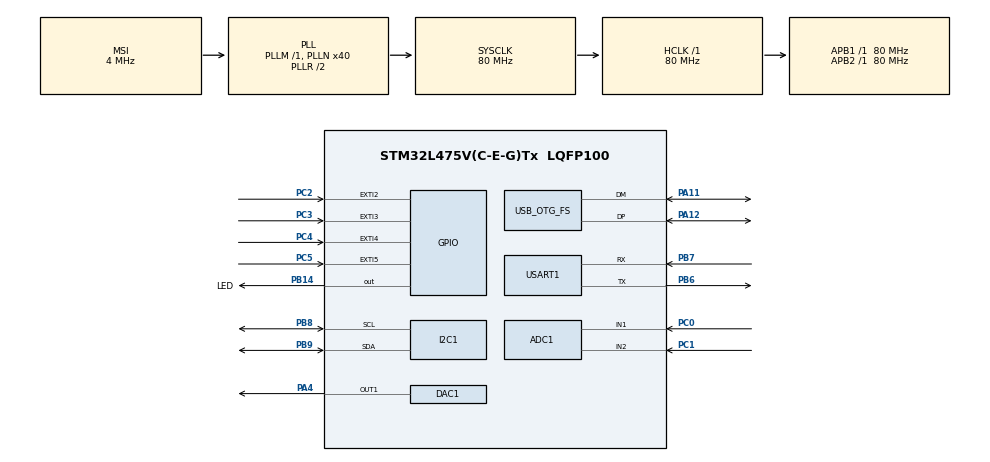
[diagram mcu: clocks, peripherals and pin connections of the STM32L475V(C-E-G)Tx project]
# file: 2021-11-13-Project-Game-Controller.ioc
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ADC1.Channel-0\#ChannelRegularConversion=ADC_CHANNEL_1
ADC1.Channel-1\#ChannelRegularConversion=ADC_CHANNEL_2
ADC1.ContinuousConvMode=ENABLE
ADC1.NbrOfConversion=2
ADC1.NbrOfConversionFlag=1
ADC1.OffsetNumber-0\#ChannelRegularConversion=ADC_OFFSET_NONE
ADC1.OffsetNumber-1\#ChannelRegularConversion=ADC_OFFSET_NONE
ADC1.Rank-0\#ChannelRegularConversion=1
ADC1.Rank-1\#ChannelRegularConversion=2
ADC1.SamplingTime-0\#ChannelRegularConversion=ADC_SAMPLETIME_247CYCLES_5
ADC1.SamplingTime-1\#ChannelRegularConversion=ADC_SAMPLETIME_247CYCLES_5
ADC1.master=1
DAC1.DAC_Trigger-DAC_OUT1=DAC_TRIGGER_T4_TRGO
Dma.ADC1.0.Direction=DMA_PERIPH_TO_MEMORY
Dma.ADC1.0.Instance=DMA1_Channel1
Dma.ADC1.0.MemDataAlignment=DMA_MDATAALIGN_WORD
Dma.ADC1.0.MemInc=DMA_MINC_ENABLE
Dma.ADC1.0.Mode=DMA_CIRCULAR
Dma.ADC1.0.PeriphDataAlignment=DMA_PDATAALIGN_WORD
Dma.ADC1.0.PeriphInc=DMA_PINC_DISABLE
Dma.ADC1.0.Priority=DMA_PRIORITY_LOW
Dma.DAC_CH1.1.Direction=DMA_MEMORY_TO_PERIPH
Dma.DAC_CH1.1.Instance=DMA1_Channel3
Dma.DAC_CH1.1.MemDataAlignment=DMA_MDATAALIGN_BYTE
Dma.DAC_CH1.1.MemInc=DMA_MINC_ENABLE
Dma.DAC_CH1.1.Mode=DMA_NORMAL
Dma.DAC_CH1.1.PeriphDataAlignment=DMA_PDATAALIGN_BYTE
Dma.DAC_CH1.1.PeriphInc=DMA_PINC_DISABLE
Dma.DAC_CH1.1.Priority=DMA_PRIORITY_VERY_HIGH
Dma.Request0=ADC1
Dma.Request1=DAC_CH1
I2C1.Timing=0x10909CEC
Mcu.Family=STM32L4
Mcu.Name=STM32L475V(C-E-G)Tx
Mcu.Package=LQFP100
NVIC.DMA1_Channel1_IRQn=true\:0\:0\:false\:false\:true\:false\:true
NVIC.DMA1_Channel3_IRQn=true\:0\:0\:false\:false\:true\:false\:true
NVIC.EXTI2_IRQn=true\:0\:0\:false\:false\:true\:true\:true
NVIC.EXTI3_IRQn=true\:0\:0\:false\:false\:true\:true\:true
NVIC.EXTI4_IRQn=true\:0\:0\:false\:false\:true\:true\:true
NVIC.EXTI9_5_IRQn=true\:0\:0\:false\:false\:true\:true\:true
NVIC.OTG_FS_IRQn=true\:0\:0\:false\:false\:true\:false\:true
NVIC.PriorityGroup=NVIC_PRIORITYGROUP_4
NVIC.TIM2_IRQn=true\:0\:0\:false\:false\:true\:true\:true
PA11.Mode=Device_Only
PA11.Signal=USB_OTG_FS_DM
PA12.Mode=Device_Only
PA12.Signal=USB_OTG_FS_DP
PA4.Signal=COMP_DAC11_group
PB14.GPIO_Label=LED
PB14.Signal=GPIO_Output
PB6.Mode=Asynchronous
PB6.Signal=USART1_TX
PB7.Mode=Asynchronous
PB7.Signal=USART1_RX
PB8.Mode=I2C
PB8.Signal=I2C1_SCL
PB9.Mode=I2C
PB9.Signal=I2C1_SDA
PC0.Signal=ADCx_IN1
PC1.Signal=ADCx_IN2
PC2.GPIO_ModeDefaultEXTI=GPIO_MODE_IT_RISING_FALLING
PC2.GPIO_PuPd=GPIO_PULLDOWN
PC2.Signal=GPXTI2
PC3.GPIO_ModeDefaultEXTI=GPIO_MODE_IT_RISING_FALLING
PC3.GPIO_PuPd=GPIO_PULLDOWN
PC3.Signal=GPXTI3
PC4.GPIO_ModeDefaultEXTI=GPIO_MODE_IT_RISING_FALLING
PC4.GPIO_PuPd=GPIO_PULLDOWN
PC4.Signal=GPXTI4
PC5.GPIO_ModeDefaultEXTI=GPIO_MODE_IT_RISING
PC5.GPIO_PuPd=GPIO_PULLDOWN
PC5.Signal=GPXTI5
PH0-OSC_IN\ (PH0).Mode=HSE-External-Oscillator
PH0-OSC_IN\ (PH0).Signal=RCC_OSC_IN
PH1-OSC_OUT\ (PH1).Mode=HSE-External-Oscillator
PH1-OSC_OUT\ (PH1).Signal=RCC_OSC_OUT
ProjectManager.HeapSize=0x200
ProjectManager.StackSize=0x400
ProjectManager.TargetToolchain=STM32CubeIDE
RCC.ADCFreq_Value=48000000
RCC.AHBFreq_Value=80000000
RCC.APB1Freq_Value=80000000
RCC.APB1TimFreq_Value=80000000
RCC.APB2Freq_Value=80000000
RCC.APB2TimFreq_Value=80000000
RCC.CortexFreq_Value=80000000
RCC.HCLKFreq_Value=80000000
RCC.HSE_VALUE=8000000
RCC.HSI_VALUE=16000000
RCC.LSE_VALUE=32768
RCC.MSI_VALUE=4000000
RCC.PLLN=40
RCC.PLLSAI1N=24
RCC.SYSCLKFreq_VALUE=80000000
RCC.SYSCLKSource=RCC_SYSCLKSOURCE_PLLCLK
RCC.USBFreq_Value=48000000
RCC.VCOOutputFreq_Value=160000000
SH.ADCx_IN1.0=ADC1_IN1,IN1-Single-Ended
SH.ADCx_IN2.0=ADC1_IN2,IN2-Single-Ended
SH.COMP_DAC11_group.0=DAC1_OUT1,DAC_OUT1
TIM2.Period=8000000
TIM4.Period=1814
TIM4.TIM_MasterOutputTrigger=TIM_TRGO_UPDATE
USART1.VirtualMode-Asynchronous=VM_ASYNC
USB_DEVICE.CLASS_NAME_FS=HID
USB_DEVICE.PRODUCT_STRING_HID_FS=STM32 Game Controller
USB_DEVICE.VirtualMode=Hid
USB_DEVICE.VirtualModeFS=Hid_FS
USB_OTG_FS.VirtualMode=Device_Only
VP_TIM2_VS_ClockSourceINT.Mode=Internal
VP_TIM4_VS_ClockSourceINT.Mode=Internal
VP_USB_DEVICE_VS_USB_DEVICE_HID_FS.Mode=HID_FS
board=B-L475E-IOT01A1

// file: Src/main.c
/* USER CODE BEGIN Header */
/**
  ******************************************************************************
  * @file           : main.c
  * @brief          : Main program body
  ******************************************************************************
  * @attention
  *
  * <h2><center>&copy; Copyright (c) 2021 STMicroelectronics.
  * All rights reserved.</center></h2>
  *
  * This software component is licensed by ST under BSD 3-Clause license,
  * the "License"; You may not use this file except in compliance with the
  * License. You may obtain a copy of the License at:
  *                        opensource.org/licenses/BSD-3-Clause
  *
  ******************************************************************************
  */
/* USER CODE END Header */
#include "main.h"
#include "usb_device.h"

/* USER CODE BEGIN Includes */
#include "stm32l475e_iot01_accelero.h"
#include "usbd_hid.h"
#include "arm_math.h"
#include "math.h"
/* USER CODE END Includes */

/* USER CODE BEGIN PTD */
/* Struct for mouse ----------------------------------------------------------*/
typedef struct {
	uint8_t id;
	uint8_t button;
	int8_t mouse_x;
	int8_t mouse_y;
	int8_t wheel;
} mouseHID_t;

/* Struct for keyboard -------------------------------------------------------*/
typedef struct {
	uint8_t id;
	uint8_t modifiers;
	uint8_t reserved;
	uint8_t keycodes[6];
} keyboardHID_t;
/* USER CODE END PTD */

/* USER CODE BEGIN PD */
/* size of DAC array ---------------------------------------------------------*/
#define size 1500
/* USER CODE END PD */

ADC_HandleTypeDef hadc1;
DMA_HandleTypeDef hdma_adc1;

DAC_HandleTypeDef hdac1;
DMA_HandleTypeDef hdma_dac_ch1;

I2C_HandleTypeDef hi2c1;

TIM_HandleTypeDef htim2;
TIM_HandleTypeDef htim4;

UART_HandleTypeDef huart1;

/* USER CODE BEGIN PV */
extern USBD_HandleTypeDef hUsbDeviceFS;
int16_t acceleroResults[3];	// temporary array to hold accelerometer readings
int16_t x,y;				// accelerometer readings
uint32_t VR[2];				// joystick readings
int sleepTimer = 0;			// timer for entering sleep mode
uint8_t button_flag = 0;	// button pressed indicator
keyboardHID_t keyboardHID;	// id code for keyboard
mouseHID_t mouseHID;		// id code for mouse
/* USER CODE END PV */

void SystemClock_Config(void);
void PeriphCommonClock_Config(void);
static void MX_GPIO_Init(void);
static void MX_DMA_Init(void);
static void MX_ADC1_Init(void);
static void MX_USART1_UART_Init(void);
static void MX_I2C1_Init(void);
static void MX_TIM2_Init(void);
static void MX_DAC1_Init(void);
static void MX_TIM4_Init(void);

/* USER CODE BEGIN 0 */
uint8_t sineValue[size];
/* USER CODE END 0 */

int main(void)
{
  /* USER CODE BEGIN 1 */

  // initialize the DAC sound output array
  for(int i = 0; i < size; i++){
	  sineValue[i] = 85 * arm_sin_f32(2*M_PI/20 * i) + 128;
  }
  // declare the id for keyboard and mouse
  keyboardHID.id = 1;
  mouseHID.id = 2;
  /* USER CODE END 1 */

  /* MCU Configuration--------------------------------------------------------*/

  /* Reset of all peripherals, Initializes the Flash interface and the Systick. */
  HAL_Init();

  /* Configure the system clock */
  SystemClock_Config();

/* Configure the peripherals common clocks */
  PeriphCommonClock_Config();

  /* Initialize all configured peripherals */
  MX_GPIO_Init();
  MX_USB_DEVICE_Init();
  MX_DMA_Init();
  MX_ADC1_Init();
  MX_USART1_UART_Init();
  MX_I2C1_Init();
  MX_TIM2_Init();
  MX_DAC1_Init();
  MX_TIM4_Init();
  /* USER CODE BEGIN 2 */
  BSP_ACCELERO_Init();
  HAL_TIM_Base_Start_IT(&htim2);
  HAL_TIM_Base_Start_IT(&htim4);
  HAL_UART_Init(&huart1);
  /* USER CODE END 2 */

  /* Infinite loop */
  /* USER CODE BEGIN WHILE */
  // start the led indicating the board working status
  HAL_GPIO_WritePin(LED_GPIO_Port, LED_Pin, 1);
  while (1)
  {
	  // check if it is proper time to sleep
	  if (sleepTimer >= 100) {
	 		  // Go to sleep
	 		  HAL_GPIO_WritePin(LED_GPIO_Port, LED_Pin, 0);
	 		  HAL_TIM_Base_Stop(&htim2);
	 		  HAL_SuspendTick();
	 		  HAL_PWR_EnterSLEEPMode(PWR_MAINREGULATOR_ON, PWR_SLEEPENTRY_WFI);

	 		  // Wake up
	 		  HAL_GPIO_WritePin(LED_GPIO_Port, LED_Pin, 1);
	 		  HAL_ResumeTick();
	 		  HAL_TIM_Base_Start_IT(&htim2);
	 		  sleepTimer = 0;
	 	  }

	  HAL_ADC_Start_DMA(&hadc1, VR, 2);

	  // read the accelerometer for mouse movement
	  BSP_ACCELERO_AccGetXYZ(acceleroResults);
	  x = acceleroResults[0];
	  y = acceleroResults[1];
	  // absolute algorithm to calculate movement of mouse
	  if (abs(x) > 200 || abs(y) > 200){
		  mouseHID.mouse_x = x/17;
		  mouseHID.mouse_y = -y/14;
		  // captured input from mouse, reset sleepTimer
		  sleepTimer = 0;
	  } else {
		  mouseHID.mouse_x = 0;
		  mouseHID.mouse_y = 0;
	  }

	  // joystick movement algorithm
	  if(VR[0] < 2500){		// w
		  keyboardHID.keycodes[4] = 26;
		  sleepTimer = 0;
	  } else if(VR[0] > 3500){		// s
		  keyboardHID.keycodes[4] = 22;
		  sleepTimer = 0;
	  } else {
		  keyboardHID.keycodes[4] = 0;
	  }

	  if(VR[1] < 2500){		// a
		  keyboardHID.keycodes[5] = 4;
		  sleepTimer = 0;
	  } else if(VR[1] > 3500 || (VR[1] < 3035 && VR[1] > 3030)){		// d
		  keyboardHID.keycodes[5] = 7;
		  sleepTimer = 0;
	  } else {
		  keyboardHID.keycodes[5] = 0;
	  }

	  // if a button pressed event is detected
	  if(button_flag == 1){
		  mouseHID.button = 1;
		  USBD_HID_SendReport(&hUsbDeviceFS,&mouseHID, sizeof (mouseHID_t));
		  HAL_Delay(10);
		  mouseHID.button = 0;
		  USBD_HID_SendReport(&hUsbDeviceFS,&mouseHID, sizeof (mouseHID_t));
		  button_flag = 0;
	  } else {
		  USBD_HID_SendReport(&hUsbDeviceFS,&mouseHID, sizeof (mouseHID_t));
	  }
	  // necessary delay between each USB sendreport
	  HAL_Delay(20);
	  USBD_HID_SendReport(&hUsbDeviceFS,&keyboardHID, sizeof (keyboardHID_t));
	  HAL_Delay(20);
    /* USER CODE END WHILE */

  }
}

void SystemClock_Config(void)
{
  RCC_OscInitTypeDef RCC_OscInitStruct = {0};
  RCC_ClkInitTypeDef RCC_ClkInitStruct = {0};

  /** Configure the main internal regulator output voltage
  */
  if (HAL_PWREx_ControlVoltageScaling(PWR_REGULATOR_VOLTAGE_SCALE1) != HAL_OK)
  {
    Error_Handler();
  }
  /** Initializes the RCC Oscillators according to the specified parameters
  * in the RCC_OscInitTypeDef structure.
  */
  RCC_OscInitStruct.OscillatorType = RCC_OSCILLATORTYPE_MSI;
  RCC_OscInitStruct.MSIState = RCC_MSI_ON;
  RCC_OscInitStruct.MSICalibrationValue = 0;
  RCC_OscInitStruct.MSIClockRange = RCC_MSIRANGE_6;
  RCC_OscInitStruct.PLL.PLLState = RCC_PLL_ON;
  RCC_OscInitStruct.PLL.PLLSource = RCC_PLLSOURCE_MSI;
  RCC_OscInitStruct.PLL.PLLM = 1;
  RCC_OscInitStruct.PLL.PLLN = 40;
  RCC_OscInitStruct.PLL.PLLP = RCC_PLLP_DIV7;
  RCC_OscInitStruct.PLL.PLLQ = RCC_PLLQ_DIV2;
  RCC_OscInitStruct.PLL.PLLR = RCC_PLLR_DIV2;
  if (HAL_RCC_OscConfig(&RCC_OscInitStruct) != HAL_OK)
  {
    Error_Handler();
  }
  /** Initializes the CPU, AHB and APB buses clocks
  */
  RCC_ClkInitStruct.ClockType = RCC_CLOCKTYPE_HCLK|RCC_CLOCKTYPE_SYSCLK
                              |RCC_CLOCKTYPE_PCLK1|RCC_CLOCKTYPE_PCLK2;
  RCC_ClkInitStruct.SYSCLKSource = RCC_SYSCLKSOURCE_PLLCLK;
  RCC_ClkInitStruct.AHBCLKDivider = RCC_SYSCLK_DIV1;
  RCC_ClkInitStruct.APB1CLKDivider = RCC_HCLK_DIV1;
  RCC_ClkInitStruct.APB2CLKDivider = RCC_HCLK_DIV1;

  if (HAL_RCC_ClockConfig(&RCC_ClkInitStruct, FLASH_LATENCY_4) != HAL_OK)
  {
    Error_Handler();
  }
}

void PeriphCommonClock_Config(void)
{
  RCC_PeriphCLKInitTypeDef PeriphClkInit = {0};

  /** Initializes the peripherals clock
  */
  PeriphClkInit.PeriphClockSelection = RCC_PERIPHCLK_USB|RCC_PERIPHCLK_ADC;
  PeriphClkInit.AdcClockSelection = RCC_ADCCLKSOURCE_PLLSAI1;
  PeriphClkInit.UsbClockSelection = RCC_USBCLKSOURCE_PLLSAI1;
  PeriphClkInit.PLLSAI1.PLLSAI1Source = RCC_PLLSOURCE_MSI;
  PeriphClkInit.PLLSAI1.PLLSAI1M = 1;
  PeriphClkInit.PLLSAI1.PLLSAI1N = 24;
  PeriphClkInit.PLLSAI1.PLLSAI1P = RCC_PLLP_DIV7;
  PeriphClkInit.PLLSAI1.PLLSAI1Q = RCC_PLLQ_DIV2;
  PeriphClkInit.PLLSAI1.PLLSAI1R = RCC_PLLR_DIV2;
  PeriphClkInit.PLLSAI1.PLLSAI1ClockOut = RCC_PLLSAI1_48M2CLK|RCC_PLLSAI1_ADC1CLK;
  if (HAL_RCCEx_PeriphCLKConfig(&PeriphClkInit) != HAL_OK)
  {
    Error_Handler();
  }
}

static void MX_ADC1_Init(void)
{

  ADC_MultiModeTypeDef multimode = {0};
  ADC_ChannelConfTypeDef sConfig = {0};

  /** Common config
  */
  hadc1.Instance = ADC1;
  hadc1.Init.ClockPrescaler = ADC_CLOCK_ASYNC_DIV1;
  hadc1.Init.Resolution = ADC_RESOLUTION_12B;
  hadc1.Init.DataAlign = ADC_DATAALIGN_RIGHT;
  hadc1.Init.ScanConvMode = ADC_SCAN_ENABLE;
  hadc1.Init.EOCSelection = ADC_EOC_SINGLE_CONV;
  hadc1.Init.LowPowerAutoWait = DISABLE;
  hadc1.Init.ContinuousConvMode = ENABLE;
  hadc1.Init.NbrOfConversion = 2;
  hadc1.Init.DiscontinuousConvMode = DISABLE;
  hadc1.Init.ExternalTrigConv = ADC_SOFTWARE_START;
  hadc1.Init.ExternalTrigConvEdge = ADC_EXTERNALTRIGCONVEDGE_NONE;
  hadc1.Init.DMAContinuousRequests = DISABLE;
  hadc1.Init.Overrun = ADC_OVR_DATA_PRESERVED;
  hadc1.Init.OversamplingMode = DISABLE;
  if (HAL_ADC_Init(&hadc1) != HAL_OK)
  {
    Error_Handler();
  }
  /** Configure the ADC multi-mode
  */
  multimode.Mode = ADC_MODE_INDEPENDENT;
  if (HAL_ADCEx_MultiModeConfigChannel(&hadc1, &multimode) != HAL_OK)
  {
    Error_Handler();
  }
  /** Configure Regular Channel
  */
  sConfig.Channel = ADC_CHANNEL_1;
  sConfig.Rank = ADC_REGULAR_RANK_1;
  sConfig.SamplingTime = ADC_SAMPLETIME_247CYCLES_5;
  sConfig.SingleDiff = ADC_SINGLE_ENDED;
  sConfig.OffsetNumber = ADC_OFFSET_NONE;
  sConfig.Offset = 0;
  if (HAL_ADC_ConfigChannel(&hadc1, &sConfig) != HAL_OK)
  {
    Error_Handler();
  }
  /** Configure Regular Channel
  */
  sConfig.Channel = ADC_CHANNEL_2;
  sConfig.Rank = ADC_REGULAR_RANK_2;
  if (HAL_ADC_ConfigChannel(&hadc1, &sConfig) != HAL_OK)
  {
    Error_Handler();
  }

}

static void MX_DAC1_Init(void)
{

  DAC_ChannelConfTypeDef sConfig = {0};

  /** DAC Initialization
  */
  hdac1.Instance = DAC1;
  if (HAL_DAC_Init(&hdac1) != HAL_OK)
  {
    Error_Handler();
  }
  /** DAC channel OUT1 config
  */
  sConfig.DAC_SampleAndHold = DAC_SAMPLEANDHOLD_DISABLE;
  sConfig.DAC_Trigger = DAC_TRIGGER_T4_TRGO;
  sConfig.DAC_OutputBuffer = DAC_OUTPUTBUFFER_ENABLE;
  sConfig.DAC_ConnectOnChipPeripheral = DAC_CHIPCONNECT_DISABLE;
  sConfig.DAC_UserTrimming = DAC_TRIMMING_FACTORY;
  if (HAL_DAC_ConfigChannel(&hdac1, &sConfig, DAC_CHANNEL_1) != HAL_OK)
  {
    Error_Handler();
  }

}

static void MX_I2C1_Init(void)
{

  hi2c1.Instance = I2C1;
  hi2c1.Init.Timing = 0x10909CEC;
  hi2c1.Init.OwnAddress1 = 0;
  hi2c1.Init.AddressingMode = I2C_ADDRESSINGMODE_7BIT;
  hi2c1.Init.DualAddressMode = I2C_DUALADDRESS_DISABLE;
  hi2c1.Init.OwnAddress2 = 0;
  hi2c1.Init.OwnAddress2Masks = I2C_OA2_NOMASK;
  hi2c1.Init.GeneralCallMode = I2C_GENERALCALL_DISABLE;
  hi2c1.Init.NoStretchMode = I2C_NOSTRETCH_DISABLE;
  if (HAL_I2C_Init(&hi2c1) != HAL_OK)
  {
    Error_Handler();
  }
  /** Configure Analogue filter
  */
  if (HAL_I2CEx_ConfigAnalogFilter(&hi2c1, I2C_ANALOGFILTER_ENABLE) != HAL_OK)
  {
    Error_Handler();
  }
  /** Configure Digital filter
  */
  if (HAL_I2CEx_ConfigDigitalFilter(&hi2c1, 0) != HAL_OK)
  {
    Error_Handler();
  }

}

static void MX_TIM2_Init(void)
{

  TIM_ClockConfigTypeDef sClockSourceConfig = {0};
  TIM_MasterConfigTypeDef sMasterConfig = {0};

  htim2.Instance = TIM2;
  htim2.Init.Prescaler = 0;
  htim2.Init.CounterMode = TIM_COUNTERMODE_UP;
  htim2.Init.Period = 8000000;
  htim2.Init.ClockDivision = TIM_CLOCKDIVISION_DIV1;
  htim2.Init.AutoReloadPreload = TIM_AUTORELOAD_PRELOAD_DISABLE;
  if (HAL_TIM_Base_Init(&htim2) != HAL_OK)
  {
    Error_Handler();
  }
  sClockSourceConfig.ClockSource = TIM_CLOCKSOURCE_INTERNAL;
  if (HAL_TIM_ConfigClockSource(&htim2, &sClockSourceConfig) != HAL_OK)
  {
    Error_Handler();
  }
  sMasterConfig.MasterOutputTrigger = TIM_TRGO_RESET;
  sMasterConfig.MasterSlaveMode = TIM_MASTERSLAVEMODE_DISABLE;
  if (HAL_TIMEx_MasterConfigSynchronization(&htim2, &sMasterConfig) != HAL_OK)
  {
    Error_Handler();
  }

}

static void MX_TIM4_Init(void)
{

  TIM_ClockConfigTypeDef sClockSourceConfig = {0};
  TIM_MasterConfigTypeDef sMasterConfig = {0};

  htim4.Instance = TIM4;
  htim4.Init.Prescaler = 0;
  htim4.Init.CounterMode = TIM_COUNTERMODE_UP;
  htim4.Init.Period = 1814;
  htim4.Init.ClockDivision = TIM_CLOCKDIVISION_DIV1;
  htim4.Init.AutoReloadPreload = TIM_AUTORELOAD_PRELOAD_DISABLE;
  if (HAL_TIM_Base_Init(&htim4) != HAL_OK)
  {
    Error_Handler();
  }
  sClockSourceConfig.ClockSource = TIM_CLOCKSOURCE_INTERNAL;
  if (HAL_TIM_ConfigClockSource(&htim4, &sClockSourceConfig) != HAL_OK)
  {
    Error_Handler();
  }
  sMasterConfig.MasterOutputTrigger = TIM_TRGO_UPDATE;
  sMasterConfig.MasterSlaveMode = TIM_MASTERSLAVEMODE_DISABLE;
  if (HAL_TIMEx_MasterConfigSynchronization(&htim4, &sMasterConfig) != HAL_OK)
  {
    Error_Handler();
  }

}

static void MX_USART1_UART_Init(void)
{

  huart1.Instance = USART1;
  huart1.Init.BaudRate = 115200;
  huart1.Init.WordLength = UART_WORDLENGTH_8B;
  huart1.Init.StopBits = UART_STOPBITS_1;
  huart1.Init.Parity = UART_PARITY_NONE;
  huart1.Init.Mode = UART_MODE_TX_RX;
  huart1.Init.HwFlowCtl = UART_HWCONTROL_NONE;
  huart1.Init.OverSampling = UART_OVERSAMPLING_16;
  huart1.Init.OneBitSampling = UART_ONE_BIT_SAMPLE_DISABLE;
  huart1.AdvancedInit.AdvFeatureInit = UART_ADVFEATURE_NO_INIT;
  if (HAL_UART_Init(&huart1) != HAL_OK)
  {
    Error_Handler();
  }

}

static void MX_DMA_Init(void)
{

  /* DMA controller clock enable */
  __HAL_RCC_DMA1_CLK_ENABLE();

  /* DMA interrupt init */
  /* DMA1_Channel1_IRQn interrupt configuration */
  HAL_NVIC_SetPriority(DMA1_Channel1_IRQn, 0, 0);
  HAL_NVIC_EnableIRQ(DMA1_Channel1_IRQn);
  /* DMA1_Channel3_IRQn interrupt configuration */
  HAL_NVIC_SetPriority(DMA1_Channel3_IRQn, 0, 0);
  HAL_NVIC_EnableIRQ(DMA1_Channel3_IRQn);

}

static void MX_GPIO_Init(void)
{
  GPIO_InitTypeDef GPIO_InitStruct = {0};

  /* GPIO Ports Clock Enable */
  __HAL_RCC_GPIOH_CLK_ENABLE();
  __HAL_RCC_GPIOC_CLK_ENABLE();
  __HAL_RCC_GPIOA_CLK_ENABLE();
  __HAL_RCC_GPIOB_CLK_ENABLE();

  /*Configure GPIO pin Output Level */
  HAL_GPIO_WritePin(LED_GPIO_Port, LED_Pin, GPIO_PIN_RESET);

  /*Configure GPIO pins : PC2 PC3 PC4 */
  GPIO_InitStruct.Pin = GPIO_PIN_2|GPIO_PIN_3|GPIO_PIN_4;
  GPIO_InitStruct.Mode = GPIO_MODE_IT_RISING_FALLING;
  GPIO_InitStruct.Pull = GPIO_PULLDOWN;
  HAL_GPIO_Init(GPIOC, &GPIO_InitStruct);

  /*Configure GPIO pin : PC5 */
  GPIO_InitStruct.Pin = GPIO_PIN_5;
  GPIO_InitStruct.Mode = GPIO_MODE_IT_RISING;
  GPIO_InitStruct.Pull = GPIO_PULLDOWN;
  HAL_GPIO_Init(GPIOC, &GPIO_InitStruct);

  /*Configure GPIO pin : LED_Pin */
  GPIO_InitStruct.Pin = LED_Pin;
  GPIO_InitStruct.Mode = GPIO_MODE_OUTPUT_PP;
  GPIO_InitStruct.Pull = GPIO_NOPULL;
  GPIO_InitStruct.Speed = GPIO_SPEED_FREQ_LOW;
  HAL_GPIO_Init(LED_GPIO_Port, &GPIO_InitStruct);

  /* EXTI interrupt init*/
  HAL_NVIC_SetPriority(EXTI2_IRQn, 0, 0);
  HAL_NVIC_EnableIRQ(EXTI2_IRQn);

  HAL_NVIC_SetPriority(EXTI3_IRQn, 0, 0);
  HAL_NVIC_EnableIRQ(EXTI3_IRQn);

  HAL_NVIC_SetPriority(EXTI4_IRQn, 0, 0);
  HAL_NVIC_EnableIRQ(EXTI4_IRQn);

  HAL_NVIC_SetPriority(EXTI9_5_IRQn, 0, 0);
  HAL_NVIC_EnableIRQ(EXTI9_5_IRQn);

}

/* USER CODE BEGIN 4 */
void HAL_GPIO_EXTI_Callback(uint16_t  GPIO_Pin){
	// start the DMA of the DAC
//	HAL_DAC_Stop_DMA(&hdac1, DAC_CHANNEL_1);
	HAL_DAC_Start_DMA(&hdac1, DAC_CHANNEL_1, (uint32_t*) sineValue, size, DAC_ALIGN_8B_R);

	// send corresponding key to the PC at each press detected
	if(GPIO_Pin == GPIO_PIN_2){
		if(HAL_GPIO_ReadPin(GPIOC, GPIO_PIN_2)){
			keyboardHID.keycodes[0] = 13;
		} else {
			keyboardHID.keycodes[0] = 0;
		}
	}

	if(GPIO_Pin == GPIO_PIN_3){
		if(HAL_GPIO_ReadPin(GPIOC, GPIO_PIN_3)){
			keyboardHID.keycodes[1] = 14;
		} else {
			keyboardHID.keycodes[1] = 0;
		}
	}

	if(GPIO_Pin == GPIO_PIN_4){
		if(HAL_GPIO_ReadPin(GPIOC, GPIO_PIN_4)){
			keyboardHID.keycodes[2] = 29;
		} else {
			keyboardHID.keycodes[2] = 0;
		}
	}
	// mouse click detection
	if(GPIO_Pin == GPIO_PIN_5){
		button_flag = 1;
	}

	USBD_HID_SendReport(&hUsbDeviceFS,&keyboardHID, sizeof (keyboardHID_t));
}

/**
 * @brief Interrupts Handler for TIM2
 *  At 80MHz system clock, prescaler = 0 and counter period = 8000000, this happens at 10Hz
 * @retval None
 */
void HAL_TIM_PeriodElapsedCallback(TIM_HandleTypeDef *htim) {
	sleepTimer++;
//	// Format: (X, Y, Z), if printf is to be reconfigured (Cumbersome!)
	char XYZ[80];
	sprintf(XYZ, "%d, End\r", sleepTimer);
	HAL_UART_Transmit(&huart1, XYZ, (uint16_t)strlen(XYZ), 10);
}

/* USER CODE END 4 */

void Error_Handler(void)
{
  __disable_irq();
  while (1)
  {
  }
}

/************************ (C) COPYRIGHT STMicroelectronics *****END OF FILE****/
